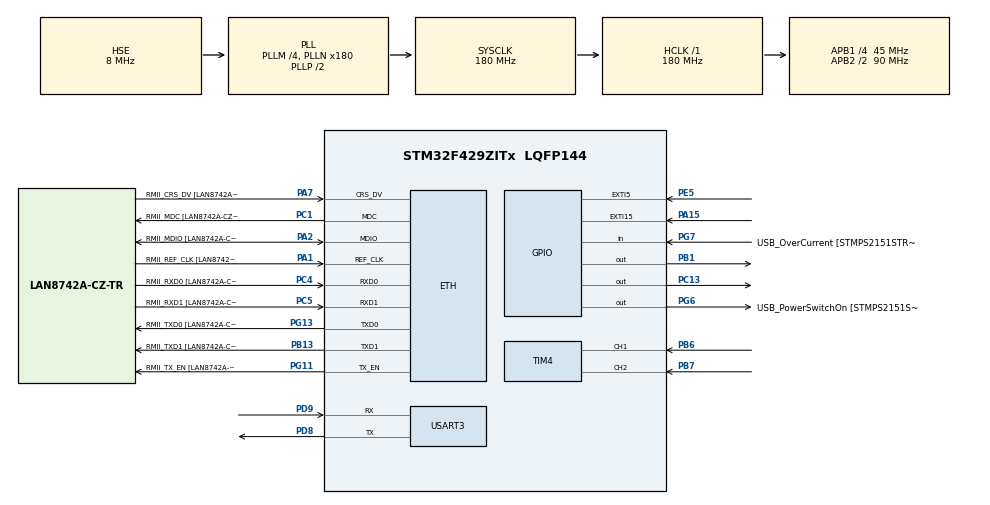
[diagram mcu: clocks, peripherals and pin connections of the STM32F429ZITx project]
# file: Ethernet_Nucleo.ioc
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ETH.MediaInterface=HAL_ETH_RMII_MODE
FREERTOS.CountingSemaphores01=pulseSemaphore,2,Dynamic,NULL,0
FREERTOS.Tasks01=defaultTask,24,1024,StartDefaultTask,Default,NULL,Dynamic,NULL,NULL;myTask02,24,1024,StartTask02,Default,NULL,Dynamic,NULL,NULL;sensorTask,24,1024,StartTask03,Default,NULL,Dynamic,NULL,NULL
FREERTOS.configGENERATE_RUN_TIME_STATS=1
FREERTOS.configMAX_TASK_NAME_LEN=128
FREERTOS.configMINIMAL_STACK_SIZE=1024
FREERTOS.configTOTAL_HEAP_SIZE=32000
FREERTOS.configUSE_NEWLIB_REENTRANT=1
FREERTOS.configUSE_STATS_FORMATTING_FUNCTIONS=1
IWDG.Prescaler=IWDG_PRESCALER_64
LWIP.BSP.number=1
LWIP.GATEWAY_ADDRESS=192.168.020.001
LWIP.IP_ADDRESS=192.168.020.249
LWIP.LWIP_DHCP=0
LWIP.LWIP_SO_RCVTIMEO=1
LWIP.LWIP_SO_SNDTIMEO=1
LWIP.NETMASK_ADDRESS=255.255.255.000
LWIP.Version=v2.1.2_Cube
LWIP0.BSP.STBoard=false
LWIP0.BSP.api=BSP_COMPONENT_DRIVER
LWIP0.BSP.component=LAN8742
LWIP0.BSP.instance=LAN8742
LWIP0.BSP.name=Driver_PHY
LWIP0.BSP.semaphore=S_LAN8742
LWIP0.BSP.solution=LAN8742
Mcu.Family=STM32F4
Mcu.Name=STM32F429ZITx
Mcu.Package=LQFP144
NVIC.ETH_IRQn=true\:5\:0\:false\:false\:true\:true\:false\:true\:true
NVIC.EXTI15_10_IRQn=true\:5\:0\:false\:false\:true\:true\:true\:true\:true
NVIC.EXTI9_5_IRQn=true\:5\:0\:false\:false\:true\:true\:true\:true\:true
NVIC.PriorityGroup=NVIC_PRIORITYGROUP_4
NVIC.TIM2_IRQn=true\:5\:0\:false\:false\:true\:true\:true\:true\:true
NVIC.TIM4_IRQn=true\:5\:0\:false\:false\:true\:true\:true\:true\:true
NVIC.TIM6_DAC_IRQn=true\:15\:0\:false\:false\:true\:false\:false\:true\:true
NVIC.TimeBase=TIM6_DAC_IRQn
NVIC.TimeBaseIP=TIM6
PA1.GPIO_Label=RMII_REF_CLK [LAN8742A-CZ-TR_REFCLK0]
PA1.Mode=RMII
PA1.Signal=ETH_REF_CLK
PA13.GPIO_Label=TMS
PA13.Mode=Serial_Wire
PA13.Signal=SYS_JTMS-SWDIO
PA14.GPIO_Label=TCK
PA14.Mode=Serial_Wire
PA14.Signal=SYS_JTCK-SWCLK
PA15.GPIO_ModeDefaultEXTI=GPIO_MODE_IT_RISING_FALLING
PA15.GPIO_PuPd=GPIO_PULLUP
PA15.Signal=GPXTI15
PA2.GPIO_Label=RMII_MDIO [LAN8742A-CZ-TR_MDIO]
PA2.Mode=RMII
PA2.Signal=ETH_MDIO
PA7.GPIO_Label=RMII_CRS_DV [LAN8742A-CZ-TR_CRS_DV]
PA7.Mode=RMII
PA7.Signal=ETH_CRS_DV
PB1.PinState=GPIO_PIN_SET
PB1.Signal=GPIO_Output
PB13.GPIO_Label=RMII_TXD1 [LAN8742A-CZ-TR_TXD1]
PB13.Mode=RMII
PB13.Signal=ETH_TXD1
PB6.Signal=S_TIM4_CH1
PB7.Signal=S_TIM4_CH2
PC1.GPIO_Label=RMII_MDC [LAN8742A-CZ-TR_MDC]
PC1.Mode=RMII
PC1.Signal=ETH_MDC
PC13.Signal=GPIO_Output
PC14/OSC32_IN.Mode=LSE-External-Oscillator
PC14/OSC32_IN.Signal=RCC_OSC32_IN
PC15/OSC32_OUT.Mode=LSE-External-Oscillator
PC15/OSC32_OUT.Signal=RCC_OSC32_OUT
PC4.GPIO_Label=RMII_RXD0 [LAN8742A-CZ-TR_RXD0]
PC4.Mode=RMII
PC4.Signal=ETH_RXD0
PC5.GPIO_Label=RMII_RXD1 [LAN8742A-CZ-TR_RXD1]
PC5.Mode=RMII
PC5.Signal=ETH_RXD1
PD8.Mode=Asynchronous
PD8.Signal=USART3_TX
PD9.Mode=Asynchronous
PD9.Signal=USART3_RX
PE5.Signal=GPXTI5
PG11.GPIO_Label=RMII_TX_EN [LAN8742A-CZ-TR_TXEN]
PG11.Mode=RMII
PG11.Signal=ETH_TX_EN
PG13.GPIO_Label=RMII_TXD0 [LAN8742A-CZ-TR_TXD0]
PG13.Mode=RMII
PG13.Signal=ETH_TXD0
PG6.GPIO_Label=USB_PowerSwitchOn [STMPS2151STR_EN]
PG6.Signal=GPIO_Output
PG7.GPIO_Label=USB_OverCurrent [STMPS2151STR_FAULT]
PG7.Signal=GPIO_Input
PH0/OSC_IN.GPIO_Label=MCO [STM32F103CBT6_PA8]
PH0/OSC_IN.Mode=HSE-External-Oscillator
PH0/OSC_IN.Signal=RCC_OSC_IN
PH1/OSC_OUT.Mode=HSE-External-Oscillator
PH1/OSC_OUT.Signal=RCC_OSC_OUT
ProjectManager.HeapSize=0x200
ProjectManager.StackSize=0x400
ProjectManager.TargetToolchain=CMake
RCC.48MHZClocksFreq_Value=90000000
RCC.AHBFreq_Value=180000000
RCC.APB1CLKDivider=RCC_HCLK_DIV4
RCC.APB1Freq_Value=45000000
RCC.APB1TimFreq_Value=90000000
RCC.APB2CLKDivider=RCC_HCLK_DIV2
RCC.APB2Freq_Value=90000000
RCC.APB2TimFreq_Value=180000000
RCC.CortexFreq_Value=180000000
RCC.HCLKFreq_Value=180000000
RCC.HSE_VALUE=8000000
RCC.HSI_VALUE=16000000
RCC.PLLM=4
RCC.PLLMUL=RCC_PLL_MUL9
RCC.PLLN=180
RCC.PLLSourceVirtual=RCC_PLLSOURCE_HSE
RCC.PRESCALERUSB=RCC_USBCLKSOURCE_PLL_DIV1_5
RCC.SYSCLKFreq_VALUE=180000000
RCC.SYSCLKSource=RCC_SYSCLKSOURCE_PLLCLK
RCC.SYSCLKSourceVirtual=RCC_SYSCLKSOURCE_PLLCLK
RCC.USBFreq_Value=48000000
RCC.VCOOutputFreq_Value=360000000
SH.S_TIM4_CH1.0=TIM4_CH1,Encoder_Interface
SH.S_TIM4_CH2.0=TIM4_CH2,Encoder_Interface
TIM2.Period=65535
TIM2.Prescaler=89
USART3.VirtualMode=VM_ASYNC
VP_FREERTOS_VS_CMSIS_V2.Mode=CMSIS_V2
VP_IWDG_VS_IWDG.Mode=IWDG_Activate
VP_LWIP_VS_Enabled.Mode=Enabled
VP_SYS_VS_tim6.Mode=TIM6
VP_TIM2_VS_ClockSourceINT.Mode=Internal
board=NUCLEO-F429ZI

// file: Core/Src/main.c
/* USER CODE BEGIN Header */
/**
  ******************************************************************************
  * @file           : main.c
  * @brief          : Main program body
  ******************************************************************************
  * @attention
  *
  * Copyright (c) 2025 STMicroelectronics.
  * All rights reserved.
  *
  * This software is licensed under terms that can be found in the LICENSE file
  * in the root directory of this software component.
  * If no LICENSE file comes with this software, it is provided AS-IS.
  *
  ******************************************************************************
  */
/* USER CODE END Header */
#include "main.h"
#include "cmsis_os.h"
#include "lwip.h"

/* USER CODE BEGIN Includes */
#include "Modbus.h"
#include "ModbusRegisters.h"
#include "FreeRTOS.h"
#include "task.h"
#include "semphr.h"
#include "timestamp.h"
/* USER CODE END Includes */

IWDG_HandleTypeDef hiwdg;

TIM_HandleTypeDef htim2;
TIM_HandleTypeDef htim4;

UART_HandleTypeDef huart3;

/* Definitions for defaultTask */
osThreadId_t defaultTaskHandle;
const osThreadAttr_t defaultTask_attributes = {
  .name = "defaultTask",
  .stack_size = 1024 * 4,
  .priority = (osPriority_t) osPriorityNormal,
};
/* Definitions for myTask02 */
osThreadId_t myTask02Handle;
const osThreadAttr_t myTask02_attributes = {
  .name = "myTask02",
  .stack_size = 1024 * 4,
  .priority = (osPriority_t) osPriorityNormal,
};
/* Definitions for sensorTask */
osThreadId_t sensorTaskHandle;
const osThreadAttr_t sensorTask_attributes = {
  .name = "sensorTask",
  .stack_size = 1024 * 4,
  .priority = (osPriority_t) osPriorityNormal,
};
/* Definitions for pulseSemaphore */
osSemaphoreId_t pulseSemaphoreHandle;
const osSemaphoreAttr_t pulseSemaphore_attributes = {
  .name = "pulseSemaphore"
};
/* USER CODE BEGIN PV */
modbusHandler_t ModbusH;
uint16_t ModbusDATA[16];
extern osSemaphoreId_t pulseSemaphore;  // Объявляем как внешнюю переменную
volatile uint8_t pulseRequested = 0;  // Флаг для запроса генерации импульса

// Локальные переменные для обработки энкодера
static int32_t lastEncoderPosition = 0;
static int32_t encoderDirection = 0;  // 1 для CW, -1 для CCW
static uint32_t lastUpdateTime = 0;

// Константы для обработки энкодера
#define ENCODER_UPDATE_PERIOD_MS 10  // Период обновления данных энкодера (10 мс)
#define SPEED_CALCULATION_PERIOD_MS 100  // Период расчета скорости (100 мс)
#define MAX_ENCODER_SPEED 10000  // Максимальная скорость в RPM

// Флаги для защиты от повторного входа в прерывания
static volatile uint8_t isProcessingSensorInterrupt = 0;
static volatile uint8_t isProcessingEncoderInterrupt = 0;

// Определения для Modbus регистров
#define FBK_Direction 1050  // Регистр для направления вращения

/* USER CODE END PV */

void SystemClock_Config(void);
static void MX_GPIO_Init(void);
static void MX_USART3_UART_Init(void);
static void MX_TIM4_Init(void);
static void MX_TIM2_Init(void);
static void MX_IWDG_Init(void);
void StartDefaultTask(void *argument);
void StartTask02(void *argument);
void StartTask03(void *argument);

int main(void)
{

  /* USER CODE BEGIN 1 */
  SystemClock_Config();
  /* USER CODE END 1 */

  /* MCU Configuration--------------------------------------------------------*/

  /* Reset of all peripherals, Initializes the Flash interface and the Systick. */
  HAL_Init();

  /* Configure the system clock */

  /* Initialize all configured peripherals */
  MX_GPIO_Init();
  MX_USART3_UART_Init();
  MX_TIM4_Init();
  MX_TIM2_Init();
  MX_IWDG_Init();

  /* Init scheduler */
  osKernelInitialize();

  /* Create the semaphores(s) */
  /* creation of pulseSemaphore */
  pulseSemaphoreHandle = osSemaphoreNew(2, 0, &pulseSemaphore_attributes);

  /* USER CODE BEGIN RTOS_SEMAPHORES */
  /* add semaphores, ... */
  //const osSemaphoreAttr_t pulseSemaphore_attributes = {
  //  .name = "pulseSemaphore"
 // };
 // pulseSemaphore = osSemaphoreNew(1, 0, &pulseSemaphore_attributes);
  /* USER CODE END RTOS_SEMAPHORES */

  /* Create the thread(s) */
  /* creation of defaultTask */
  defaultTaskHandle = osThreadNew(StartDefaultTask, NULL, &defaultTask_attributes);

  /* creation of myTask02 */
  myTask02Handle = osThreadNew(StartTask02, NULL, &myTask02_attributes);

  /* creation of sensorTask */
  sensorTaskHandle = osThreadNew(StartTask03, NULL, &sensorTask_attributes);

  /* Start scheduler */
  osKernelStart();

  /* We should never get here as control is now taken by the scheduler */

  /* Infinite loop */
  while (1)
  {

  }
}

void SystemClock_Config(void)
{
  RCC_OscInitTypeDef RCC_OscInitStruct = {0};
  RCC_ClkInitTypeDef RCC_ClkInitStruct = {0};

  /** Configure the main internal regulator output voltage
  */
  __HAL_RCC_PWR_CLK_ENABLE();
  __HAL_PWR_VOLTAGESCALING_CONFIG(PWR_REGULATOR_VOLTAGE_SCALE1);

  /** Initializes the RCC Oscillators according to the specified parameters
  * in the RCC_OscInitTypeDef structure.
  */
  RCC_OscInitStruct.OscillatorType = RCC_OSCILLATORTYPE_LSI|RCC_OSCILLATORTYPE_HSE;
  RCC_OscInitStruct.HSEState = RCC_HSE_ON;
  RCC_OscInitStruct.LSIState = RCC_LSI_ON;
  RCC_OscInitStruct.PLL.PLLState = RCC_PLL_ON;
  RCC_OscInitStruct.PLL.PLLSource = RCC_PLLSOURCE_HSE;
  RCC_OscInitStruct.PLL.PLLM = 4;
  RCC_OscInitStruct.PLL.PLLN = 180;
  RCC_OscInitStruct.PLL.PLLP = RCC_PLLP_DIV2;
  RCC_OscInitStruct.PLL.PLLQ = 4;
  if (HAL_RCC_OscConfig(&RCC_OscInitStruct) != HAL_OK)
  {
    Error_Handler();
  }

  /** Activate the Over-Drive mode
  */
  if (HAL_PWREx_EnableOverDrive() != HAL_OK)
  {
    Error_Handler();
  }

  /** Initializes the CPU, AHB and APB buses clocks
  */
  RCC_ClkInitStruct.ClockType = RCC_CLOCKTYPE_HCLK|RCC_CLOCKTYPE_SYSCLK
                              |RCC_CLOCKTYPE_PCLK1|RCC_CLOCKTYPE_PCLK2;
  RCC_ClkInitStruct.SYSCLKSource = RCC_SYSCLKSOURCE_PLLCLK;
  RCC_ClkInitStruct.AHBCLKDivider = RCC_SYSCLK_DIV1;
  RCC_ClkInitStruct.APB1CLKDivider = RCC_HCLK_DIV4;
  RCC_ClkInitStruct.APB2CLKDivider = RCC_HCLK_DIV2;

  if (HAL_RCC_ClockConfig(&RCC_ClkInitStruct, FLASH_LATENCY_5) != HAL_OK)
  {
    Error_Handler();
  }
}

static void MX_IWDG_Init(void)
{

  hiwdg.Instance = IWDG;
  hiwdg.Init.Prescaler = IWDG_PRESCALER_64;
  hiwdg.Init.Reload = 4095;
  if (HAL_IWDG_Init(&hiwdg) != HAL_OK)
  {
    Error_Handler();
  }

}

static void MX_TIM2_Init(void)
{

  TIM_ClockConfigTypeDef sClockSourceConfig = {0};
  TIM_MasterConfigTypeDef sMasterConfig = {0};

  htim2.Instance = TIM2;
  htim2.Init.Prescaler = 89;
  htim2.Init.CounterMode = TIM_COUNTERMODE_UP;
  htim2.Init.Period = 65535;
  htim2.Init.ClockDivision = TIM_CLOCKDIVISION_DIV1;
  htim2.Init.AutoReloadPreload = TIM_AUTORELOAD_PRELOAD_DISABLE;
  if (HAL_TIM_Base_Init(&htim2) != HAL_OK)
  {
    Error_Handler();
  }
  sClockSourceConfig.ClockSource = TIM_CLOCKSOURCE_INTERNAL;
  if (HAL_TIM_ConfigClockSource(&htim2, &sClockSourceConfig) != HAL_OK)
  {
    Error_Handler();
  }
  sMasterConfig.MasterOutputTrigger = TIM_TRGO_RESET;
  sMasterConfig.MasterSlaveMode = TIM_MASTERSLAVEMODE_DISABLE;
  if (HAL_TIMEx_MasterConfigSynchronization(&htim2, &sMasterConfig) != HAL_OK)
  {
    Error_Handler();
  }

}

static void MX_TIM4_Init(void)
{

  TIM_Encoder_InitTypeDef sConfig = {0};
  TIM_MasterConfigTypeDef sMasterConfig = {0};

  htim4.Instance = TIM4;
  htim4.Init.Prescaler = 0;
  htim4.Init.CounterMode = TIM_COUNTERMODE_UP;
  htim4.Init.Period = 65535;
  htim4.Init.ClockDivision = TIM_CLOCKDIVISION_DIV1;
  htim4.Init.AutoReloadPreload = TIM_AUTORELOAD_PRELOAD_DISABLE;
  sConfig.EncoderMode = TIM_ENCODERMODE_TI1;
  sConfig.IC1Polarity = TIM_ICPOLARITY_RISING;
  sConfig.IC1Selection = TIM_ICSELECTION_DIRECTTI;
  sConfig.IC1Prescaler = TIM_ICPSC_DIV1;
  sConfig.IC1Filter = 0;
  sConfig.IC2Polarity = TIM_ICPOLARITY_RISING;
  sConfig.IC2Selection = TIM_ICSELECTION_DIRECTTI;
  sConfig.IC2Prescaler = TIM_ICPSC_DIV1;
  sConfig.IC2Filter = 0;
  if (HAL_TIM_Encoder_Init(&htim4, &sConfig) != HAL_OK)
  {
    Error_Handler();
  }
  sMasterConfig.MasterOutputTrigger = TIM_TRGO_RESET;
  sMasterConfig.MasterSlaveMode = TIM_MASTERSLAVEMODE_DISABLE;
  if (HAL_TIMEx_MasterConfigSynchronization(&htim4, &sMasterConfig) != HAL_OK)
  {
    Error_Handler();
  }

}

static void MX_USART3_UART_Init(void)
{

  huart3.Instance = USART3;
  huart3.Init.BaudRate = 115200;
  huart3.Init.WordLength = UART_WORDLENGTH_8B;
  huart3.Init.StopBits = UART_STOPBITS_1;
  huart3.Init.Parity = UART_PARITY_NONE;
  huart3.Init.Mode = UART_MODE_TX_RX;
  huart3.Init.HwFlowCtl = UART_HWCONTROL_NONE;
  huart3.Init.OverSampling = UART_OVERSAMPLING_16;
  if (HAL_UART_Init(&huart3) != HAL_OK)
  {
    Error_Handler();
  }

}

static void MX_GPIO_Init(void)
{
  GPIO_InitTypeDef GPIO_InitStruct = {0};

  /* GPIO Ports Clock Enable */
  __HAL_RCC_GPIOE_CLK_ENABLE();
  __HAL_RCC_GPIOC_CLK_ENABLE();
  __HAL_RCC_GPIOH_CLK_ENABLE();
  __HAL_RCC_GPIOA_CLK_ENABLE();
  __HAL_RCC_GPIOB_CLK_ENABLE();
  __HAL_RCC_GPIOD_CLK_ENABLE();
  __HAL_RCC_GPIOG_CLK_ENABLE();

  /*Configure GPIO pin Output Level */
  HAL_GPIO_WritePin(GPIOC, GPIO_PIN_13, GPIO_PIN_RESET);

  /*Configure GPIO pin Output Level */
  HAL_GPIO_WritePin(GPIOB, GPIO_PIN_1, GPIO_PIN_SET);

  /*Configure GPIO pin Output Level */
  HAL_GPIO_WritePin(USB_PowerSwitchOn_GPIO_Port, USB_PowerSwitchOn_Pin, GPIO_PIN_RESET);

  /*Configure GPIO pin : PE5 */
  GPIO_InitStruct.Pin = GPIO_PIN_5;
  GPIO_InitStruct.Mode = GPIO_MODE_IT_RISING;
  GPIO_InitStruct.Pull = GPIO_NOPULL;
  HAL_GPIO_Init(GPIOE, &GPIO_InitStruct);

  /*Configure GPIO pin : PC13 */
  GPIO_InitStruct.Pin = GPIO_PIN_13;
  GPIO_InitStruct.Mode = GPIO_MODE_OUTPUT_PP;
  GPIO_InitStruct.Pull = GPIO_NOPULL;
  GPIO_InitStruct.Speed = GPIO_SPEED_FREQ_LOW;
  HAL_GPIO_Init(GPIOC, &GPIO_InitStruct);

  /*Configure GPIO pin : PB1 */
  GPIO_InitStruct.Pin = GPIO_PIN_1;
  GPIO_InitStruct.Mode = GPIO_MODE_OUTPUT_PP;
  GPIO_InitStruct.Pull = GPIO_NOPULL;
  GPIO_InitStruct.Speed = GPIO_SPEED_FREQ_LOW;
  HAL_GPIO_Init(GPIOB, &GPIO_InitStruct);

  /*Configure GPIO pin : USB_PowerSwitchOn_Pin */
  GPIO_InitStruct.Pin = USB_PowerSwitchOn_Pin;
  GPIO_InitStruct.Mode = GPIO_MODE_OUTPUT_PP;
  GPIO_InitStruct.Pull = GPIO_NOPULL;
  GPIO_InitStruct.Speed = GPIO_SPEED_FREQ_LOW;
  HAL_GPIO_Init(USB_PowerSwitchOn_GPIO_Port, &GPIO_InitStruct);

  /*Configure GPIO pin : USB_OverCurrent_Pin */
  GPIO_InitStruct.Pin = USB_OverCurrent_Pin;
  GPIO_InitStruct.Mode = GPIO_MODE_INPUT;
  GPIO_InitStruct.Pull = GPIO_NOPULL;
  HAL_GPIO_Init(USB_OverCurrent_GPIO_Port, &GPIO_InitStruct);

  /*Configure GPIO pin : PA15 */
  GPIO_InitStruct.Pin = GPIO_PIN_15;
  GPIO_InitStruct.Mode = GPIO_MODE_IT_RISING_FALLING;
  GPIO_InitStruct.Pull = GPIO_PULLUP;
  HAL_GPIO_Init(GPIOA, &GPIO_InitStruct);

  /* EXTI interrupt init*/
  HAL_NVIC_SetPriority(EXTI9_5_IRQn, 5, 0);
  HAL_NVIC_EnableIRQ(EXTI9_5_IRQn);

  HAL_NVIC_SetPriority(EXTI15_10_IRQn, 7, 0);
  HAL_NVIC_EnableIRQ(EXTI15_10_IRQn);

}

/* USER CODE BEGIN 4 */
void print_ip_address(void) {
  struct netif *netif = netif_default;
  ip_addr_t ip_addr = *netif_ip_addr4(netif);

  printf("IP Address: %d.%d.%d.%d\n",
         ip4_addr1(&ip_addr),
         ip4_addr2(&ip_addr),
         ip4_addr3(&ip_addr),
         ip4_addr4(&ip_addr));
}

// Обработчик прерывания для датчика
void HAL_GPIO_EXTI_Callback(uint16_t GPIO_Pin) {
    if (GPIO_Pin == GPIO_PIN_5)  // Z сигнал энкодера
    {
        // Проверяем защиту от повторного входа
        if (isProcessingEncoderInterrupt) {
            return;
        }
        isProcessingEncoderInterrupt = 1;

        // Проверяем состояние пина
        if (HAL_GPIO_ReadPin(GPIOE, GPIO_PIN_5) == GPIO_PIN_SET)
        {
            // Сбрасываем позицию энкодера
            __HAL_TIM_SET_COUNTER(&htim4, 0);
            encoderPosition = 0;
            lastEncoderPosition = 0;

            // Обновляем регистры Modbus
            holdingRegisters[SP_Pos_Count - 2000] = 0;
            inputRegisters[FBK_Pulse_Count - 1000] = 0;
            inputRegisters[FBK_Pos_Count - 1000] = 0;
            inputRegisters[FBK_Pos_Count_Max - 1000] = 0;
        }

        isProcessingEncoderInterrupt = 0;
    }
}

void UpdateEncoderData(void)
{
    uint32_t currentTime = HAL_GetTick();

    // Получаем текущее значение счетчика
    int32_t currentCount = (int32_t)__HAL_TIM_GET_COUNTER(&htim4);

    // Вычисляем разницу с учетом переполнения
    int32_t positionDiff;
    if (currentCount >= lastEncoderPosition) {
        positionDiff = currentCount - lastEncoderPosition;
    } else {
        positionDiff = (0xFFFF - lastEncoderPosition) + currentCount + 1;
    }

    // Определяем направление вращения
    if (positionDiff != 0) {
        // Используем биты направления из TIM4
        if ((htim4.Instance->CR1 & TIM_CR1_DIR) == 0) {
            encoderDirection = 1;  // CW - по часовой стрелке
        } else {
            encoderDirection = -1;  // CCW - против часовой стрелки
        }
    }

    // Обновляем позицию с учетом направления
    encoderPosition += positionDiff * encoderDirection;

    // Расчет скорости каждые SPEED_CALCULATION_PERIOD_MS
    if (currentTime - lastUpdateTime >= SPEED_CALCULATION_PERIOD_MS) {
        // Вычисляем скорость в RPM
        // Формула: (импульсы * 60 * 1000) / (импульсов_на_оборот * период_в_мс)
        int32_t pulsesPerPeriod = positionDiff * encoderDirection;
        encoderSpeed = (pulsesPerPeriod * 60 * 1000) / (encoderPulsesPerRevolution * SPEED_CALCULATION_PERIOD_MS);

        // Ограничиваем скорость
        if (encoderSpeed > MAX_ENCODER_SPEED) encoderSpeed = MAX_ENCODER_SPEED;
        if (encoderSpeed < -MAX_ENCODER_SPEED) encoderSpeed = -MAX_ENCODER_SPEED;

        // Вычисляем угол в десятых градуса
        int32_t angle = ((encoderPosition % encoderPulsesPerRevolution) * 3600) / encoderPulsesPerRevolution;
        if (angle < 0) angle += 3600; // Корректировка для отрицательных значений
        inputRegisters[FBK_Pos - 1000] = (uint16_t)angle;

        // Обновляем регистры Modbus
        inputRegisters[FBK_Pos_Count - 1000] = (uint16_t)(encoderPosition & 0xFFFF);
        inputRegisters[FBK_Pos_Count_Max - 1000] = (uint16_t)encoderPulsesPerRevolution;
        inputRegisters[FBK_Pos - 1000] = (uint16_t)(encoderSpeed & 0xFFFF);
        inputRegisters[FBK_Direction - 1000] = (uint16_t)(encoderDirection > 0 ? 1 : 0);

        lastUpdateTime = currentTime;
    }

    // Сохраняем текущее значение для следующего сравнения
    lastEncoderPosition = currentCount;

}
/* USER CODE END 4 */

void StartDefaultTask(void *argument)
{
  /* init code for LWIP */
  //MX_LWIP_Init();
  /* USER CODE BEGIN 5 */
  /* Modbus TCP initialization */
  // Инициализация регистров Modbus
  ModbusRegisters_Init();
  Modbus_SetHoldingRegister(SP_Power_27_V, 1U);
  Modbus_SetHoldingRegister(SP_Pulse_On, 1U);
  Modbus_SetHoldingRegister(SP_Pulse_Lenght, 2200U);
  Modbus_SetHoldingRegister(SP_Delay_Before, 50U);

  // Инициализация Modbus handler
 // ModbusH.uModbusType = MB_SLAVE;  // Режим slave
 // ModbusH.u8id = 1;  // ID устройства (адрес slave)
 // ModbusH.u16timeOut = 2000;  // Увеличенный таймаут до 2000 мс
 // ModbusH.u16regs = holdingRegisters;  // Указатель на holding registers
 // ModbusH.u16regsize = HOLDING_REGISTERS_COUNT;  // Размер holding registers
 // ModbusH.xTypeHW = TCP_HW;  // TCP hardware
 // ModbusH.uTcpPort = 502;   // Стандартный порт Modbus TCP

  // Даем время для инициализации сети
 // osDelay(1000);

  //Initialize Modbus library
  //ModbusInit(&ModbusH);

  //Start capturing traffic on serial Port and initialize counters
 // ModbusStart(&ModbusH);

  /* Infinite loop */
  for(;;)
  {
    // Улучшенная логика обработки ошибок
    /*if (ModbusH.i8lastError != 0) {
        // Закрываем все существующие соединения
        for(int i = 0; i < NUMBERTCPCONN; i++) {
            if(ModbusH.newconns[i].conn != NULL) {
                ModbusCloseConn(ModbusH.newconns[i].conn);
                ModbusH.newconns[i].conn = NULL;
            }
        }

        // Очищаем буферы
        memset(ModbusH.u8Buffer, 0, MAX_BUFFER);
        ModbusH.u8BufferSize = 0;

        // Даем время на освобождение ресурсов
        osDelay(100);

        // Перезапускаем Modbus
        ModbusStart(&ModbusH);

        // Сбрасываем счетчик ошибок
        ModbusH.i8lastError = 0;
    }*/
    osDelay(10);
  }
  /* USER CODE END 5 */
}

void StartTask02(void *argument)
{
  /* USER CODE BEGIN StartTask02 */
  (void)argument;  // Указываем, что параметр намеренно не используется

  // Инициализация энкодера
  encoderPosition = 0;
  encoderSpeed = 0;
  encoderPulsesPerRevolution = 2500; // Значение по умолчанию

  // Запускаем таймер энкодера
  //HAL_TIM_Encoder_Start(&htim4, TIM_CHANNEL_ALL);

  /* Infinite loop */
  for(;;)
  {
    // Обновляем данные энкодера
   // UpdateEncoderData();

    // Задержка между обновлениями
    osDelay(ENCODER_UPDATE_PERIOD_MS);
  }
  /* USER CODE END StartTask02 */
}

void StartTask03(void *argument)
{
  /* USER CODE BEGIN StartTask03 */
  (void)argument;
  TIM2_Init_Delay();
  Sensor_Init();

  // Инициализация значений по умолчанию
  //holdingRegisters[SP_Delay_Before - 2000] = 0;     // Задержка 0 мс
  //holdingRegisters[SP_Pulse_Lenght - 2000] = 2000;  // Длительность 20 мс
  //holdingRegisters[SP_Front_Type - 2000] = 0;       // Передний фронт

  // Обновляем регистры обратной связи
  //inputRegisters[FBK_Delay_Before - 1000] = holdingRegisters[SP_Delay_Before - 2000];
  //inputRegisters[FBK_Pulse_Lenght - 1000] = holdingRegisters[SP_Pulse_Lenght - 2000];
  //inputRegisters[FBK_Front_Type - 1000] = holdingRegisters[SP_Front_Type - 2000];

  /* Infinite loop */
  for(;;)
  {
    HAL_IWDG_Refresh(&hiwdg);
    // Даем шанс выполниться другим задачам
    osDelay(1);
  }
  /* USER CODE END StartTask03 */
}

void HAL_TIM_PeriodElapsedCallback(TIM_HandleTypeDef *htim)
{
  if (htim->Instance == TIM6)
  {
    HAL_IncTick();
  }
}

void Error_Handler(void)
{
  __disable_irq();
  while (1)
  {
  }
}
